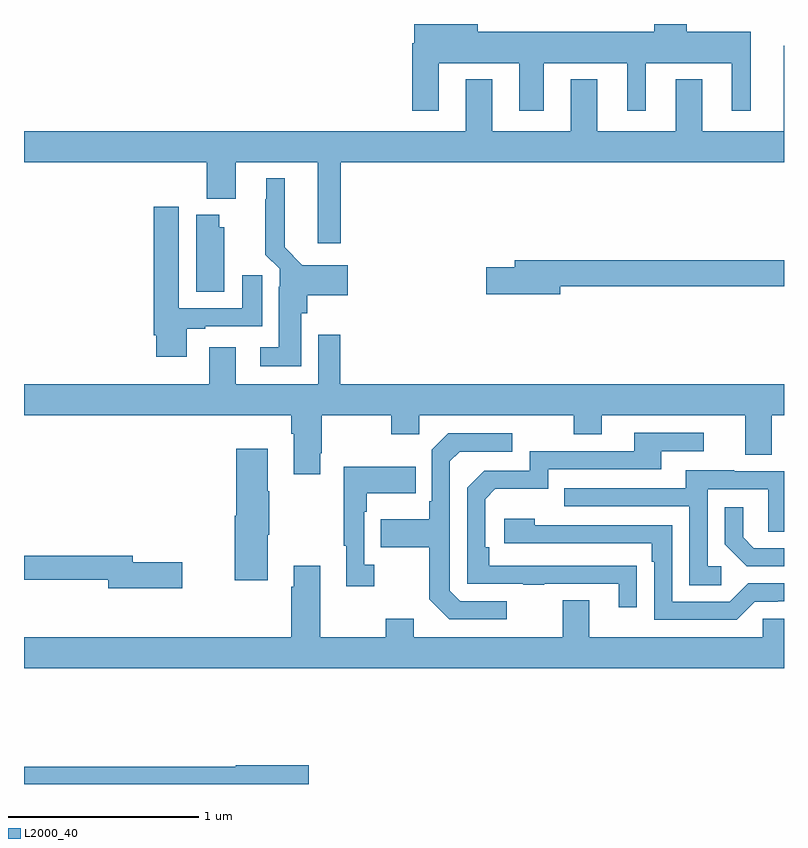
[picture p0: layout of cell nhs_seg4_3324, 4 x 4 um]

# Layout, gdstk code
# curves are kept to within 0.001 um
import gdstk
lib = gdstk.Library(unit=1e-6, precision=1e-09)
def P(c, l, *ps):  # polygons
    for p in ps: c.add(gdstk.Polygon(p, *l))
L2000_40 = (2000, 40)

nhs_seg4_3324 = lib.new_cell('nhs_seg4_3324')
P(nhs_seg4_3324, L2000_40, [(289.183,778.694),(289.607,778.694),(289.607,778.443),(289.735,778.443),(289.735,778.694),(290.174,778.694),(290.174,778.443),(290.272,778.443),(290.272,778.694),(290.726,778.694),(290.726,778.443),(290.824,778.443),(290.824,778.858),(290.488,778.858),(290.488,778.9),(290.318,778.9),(290.318,778.858),(289.387,778.858),(289.387,778.9),(289.055,778.9),(289.055,778.798),(289.043,778.798),(289.043,778.443),(289.183,778.443)],
  [(288.668,778.172),(291,778.172),(291,778.786),(290.999,778.786),(290.999,778.336),(290.569,778.336),(290.569,778.609),(290.429,778.609),(290.429,778.336),(290.017,778.336),(290.017,778.609),(289.877,778.609),(289.877,778.336),(289.465,778.336),(289.465,778.609),(289.325,778.609),(289.325,778.336),(287,778.336),(287,778.172),(287.963,778.172),(287.963,777.98),(288.115,777.98),(288.115,778.172),(288.545,778.172),(288.545,777.747),(288.668,777.747)],
  [(288.46,777.378),(288.491,777.378),(288.491,777.473),(288.703,777.473),(288.703,777.631),(288.465,777.631),(288.373,777.724),(288.373,778.087),(288.275,778.087),(288.275,777.977),(288.271,777.977),(288.271,777.686),(288.345,777.612),(288.345,777.518),(288.341,777.518),(288.341,777.199),(288.243,777.199),(288.243,777.098),(288.46,777.098)],
  [(287.857,777.297),(287.953,777.297),(287.953,777.309),(288.253,777.309),(288.253,777.577),(288.149,777.577),(288.149,777.405),(287.815,777.405),(287.815,777.937),(287.684,777.937),(287.684,777.262),(287.696,777.262),(287.696,777.15),(287.857,777.15)],
  [(288.055,777.831),(288.028,777.831),(288.028,777.895),(287.906,777.895),(287.906,777.49),(288.055,777.49)],
  [(289.822,777.52),(291,777.52),(291,777.656),(289.583,777.656),(289.583,777.62),(289.434,777.62),(289.434,777.478),(289.822,777.478)],
  [(288.559,776.641),(288.567,776.641),(288.567,776.84),(288.934,776.84),(288.934,776.741),(289.08,776.741),(289.08,776.84),(289.894,776.84),(289.894,776.741),(290.041,776.741),(290.041,776.84),(290.795,776.84),(290.795,776.632),(290.935,776.632),(290.935,776.84),(291,776.84),(291,777.004),(288.665,777.004),(288.665,777.265),(288.549,777.265),(288.549,777.004),(288.115,777.004),(288.115,777.199),(287.975,777.199),(287.975,777.004),(287,777.004),(287,776.84),(288.407,776.84),(288.407,776.744),(288.419,776.744),(288.419,776.529),(288.559,776.529)],
  [(290.225,776.048),(289.448,776.049),(289.448,776.146),(289.428,776.146),(289.428,776.4),(289.481,776.453),(289.758,776.453),(289.758,776.556),(290.353,776.556),(290.353,776.652),(290.578,776.652),(290.578,776.748),(290.213,776.748),(290.213,776.652),(289.662,776.652),(289.662,776.55),(289.422,776.55),(289.332,776.46),(289.332,775.953),(289.627,775.953),(289.627,775.948),(289.739,775.948),(289.739,775.953),(290.129,775.953),(290.129,775.83),(290.225,775.83)],
  [(289.54,775.863),(289.296,775.863),(289.242,775.917),(289.242,776.598),(289.293,776.649),(289.57,776.649),(289.57,776.745),(289.233,776.745),(289.146,776.658),(289.146,776.389),(289.134,776.389),(289.134,776.293),(288.877,776.293),(288.877,776.146),(289.134,776.146),(289.134,775.873),(289.239,775.767),(289.54,775.767)],
  [(288.283,776.213),(288.291,776.213),(288.291,776.441),(288.283,776.441),(288.283,776.665),(288.116,776.665),(288.116,776.313),(288.11,776.313),(288.11,775.973),(288.283,775.973)],
  [(288.844,776.054),(288.792,776.054),(288.792,776.333),(288.805,776.333),(288.805,776.429),(289.061,776.429),(289.061,776.569),(288.684,776.569),(288.684,776.153),(288.695,776.153),(288.695,775.941),(288.844,775.941)],
  [(290.671,776.046),(290.598,776.046),(290.598,776.451),(290.916,776.451),(290.916,776.227),(291,776.227),(291,776.547),(290.737,776.547),(290.737,776.551),(290.483,776.551),(290.483,776.457),(289.843,776.457),(289.843,776.361),(290.502,776.361),(290.502,775.945),(290.671,775.945)],
  [(291,776.142),(290.842,776.142),(290.785,776.199),(290.785,776.356),(290.688,776.356),(290.688,776.162),(290.804,776.046),(291,776.046)],
  [(290.847,775.86),(290.966,775.86),(290.966,775.863),(291,775.863),(291,775.956),(290.811,775.956),(290.715,775.86),(290.412,775.86),(290.412,776.262),(289.688,776.262),(289.688,776.296),(289.527,776.296),(289.527,776.166),(290.303,776.166),(290.303,776.069),(290.316,776.069),(290.316,775.764),(290.751,775.764)],
  [(287.833,776.066),(287.572,776.066),(287.572,776.102),(287,776.102),(287,775.974),(287.444,775.974),(287.444,775.931),(287.833,775.931)],
  [(291,775.77),(290.889,775.77),(290.889,775.672),(289.975,775.672),(289.975,775.867),(289.835,775.867),(289.835,775.672),(289.051,775.672),(289.051,775.771),(288.904,775.771),(288.904,775.672),(288.559,775.672),(288.559,776.05),(288.419,776.05),(288.419,775.937),(288.407,775.937),(288.407,775.672),(287,775.672),(287,775.508),(291,775.508)],
  [(288.499,774.998),(288.114,774.998),(288.114,774.992),(287,774.992),(287,774.9),(288.499,774.9)])

lib.write_gds('nhs_seg4_3324.gds')
